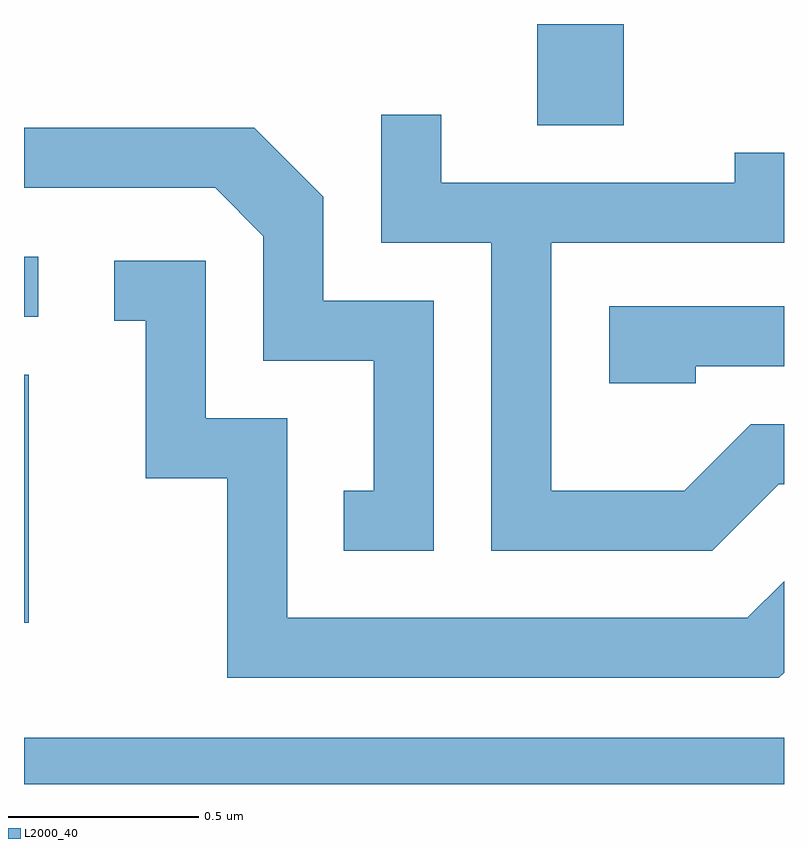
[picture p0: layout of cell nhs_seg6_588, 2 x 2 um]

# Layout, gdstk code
import gdstk
lib = gdstk.Library(unit=1e-6, precision=1e-09)
def R(c, l, rs):  # rectangles x0, y0, x1, y1
    for r in rs: c.add(gdstk.rectangle(r[:2], r[2:], *l))
def P(c, l, *ps):  # polygons
    for p in ps: c.add(gdstk.Polygon(p, *l))
L2000_40 = (2000, 40)

nhs_seg6_588 = lib.new_cell('nhs_seg6_588')
R(nhs_seg6_588, L2000_40, [(189.611,1570.162,191.611,1570.284), (189.611,1570.586,189.624,1571.239), (189.611,1571.391,189.648,1571.549), (190.961,1571.896,191.189,1572.162)])
P(nhs_seg6_588, L2000_40, [(191.597,1570.951),(191.611,1570.951),(191.611,1571.109),(191.524,1571.109),(191.349,1570.934),(190.999,1570.934),(190.999,1571.586),(191.611,1571.586),(191.611,1571.823),(191.481,1571.823),(191.481,1571.744),(190.709,1571.744),(190.709,1571.923),(190.551,1571.923),(190.551,1571.586),(190.841,1571.586),(190.841,1570.776),(191.422,1570.776)],
  [(190.689,1571.434),(190.399,1571.434),(190.399,1571.707),(190.217,1571.889),(189.611,1571.889),(189.611,1571.731),(190.114,1571.731),(190.241,1571.604),(190.241,1571.276),(190.531,1571.276),(190.531,1570.934),(190.453,1570.934),(190.453,1570.776),(190.689,1570.776)],
  [(191.611,1570.455),(191.611,1570.696),(191.514,1570.599),(190.304,1570.599),(190.304,1571.124),(190.089,1571.124),(190.089,1571.539),(189.848,1571.539),(189.848,1571.381),(189.931,1571.381),(189.931,1570.966),(190.146,1570.966),(190.146,1570.441),(191.597,1570.441)],
  [(191.379,1571.261),(191.611,1571.261),(191.611,1571.419),(191.151,1571.419),(191.151,1571.216),(191.379,1571.216)])

lib.write_gds('nhs_seg6_588.gds')
